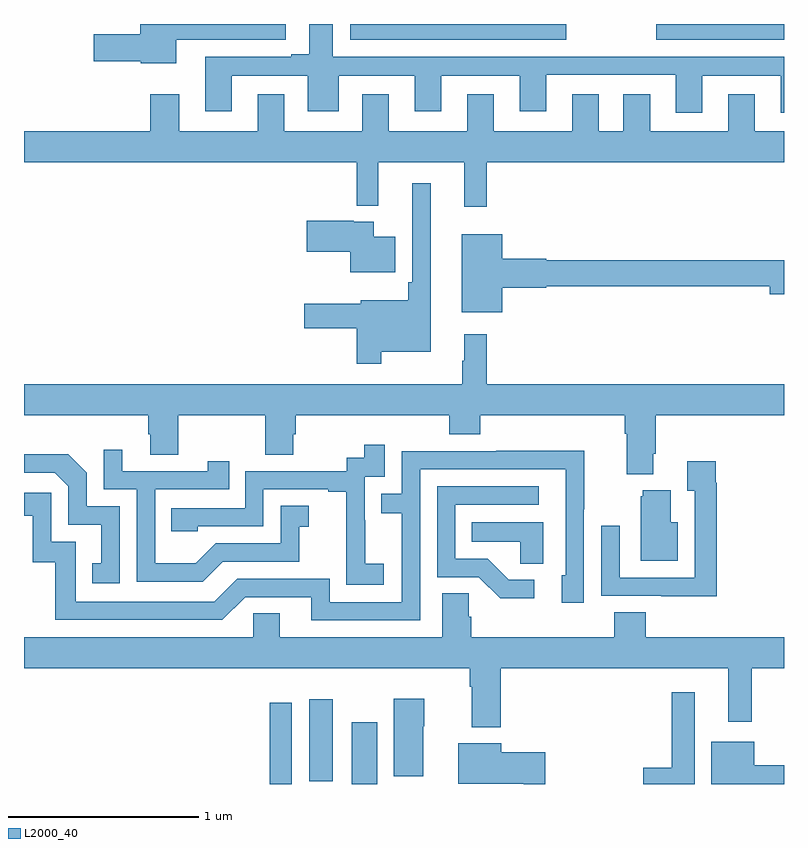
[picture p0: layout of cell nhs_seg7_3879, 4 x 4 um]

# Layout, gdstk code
import gdstk
lib = gdstk.Library(unit=1e-6, precision=1e-09)
def R(c, l, rs):  # rectangles x0, y0, x1, y1
    for r in rs: c.add(gdstk.rectangle(r[:2], r[2:], *l))
def P(c, l, *ps):  # polygons
    for p in ps: c.add(gdstk.Polygon(p, *l))
L2000_40 = (2000, 40)

nhs_seg7_3879 = lib.new_cell('nhs_seg7_3879')
R(nhs_seg7_3879, L2000_40, [(358.294,1008,358.41,1008.427), (358.724,1008,358.858,1008.325), (358.502,1008.015,358.624,1008.445), (360.327,1011.918,361,1012)])
P(nhs_seg7_3879, L2000_40, [(359.854,1012),(358.718,1012),(358.718,1011.918),(359.476,1011.918),(359.476,1011.917),(359.854,1011.917)],
  [(357.802,1011.918),(358.378,1011.918),(358.378,1012),(357.611,1012),(357.611,1011.947),(357.366,1011.947),(357.366,1011.805),(357.615,1011.805),(357.615,1011.794),(357.802,1011.794)],
  [(360.571,1011.727),(360.983,1011.727),(360.983,1011.534),(361,1011.534),(361,1011.828),(358.624,1011.828),(358.624,1012),(358.502,1012),(358.502,1011.841),(358.406,1011.841),(358.406,1011.828),(357.953,1011.828),(357.953,1011.54),(358.093,1011.54),(358.093,1011.727),(358.493,1011.727),(358.493,1011.54),(358.657,1011.54),(358.657,1011.727),(359.057,1011.727),(359.057,1011.54),(359.197,1011.54),(359.197,1011.727),(359.609,1011.727),(359.609,1011.54),(359.749,1011.54),(359.749,1011.732),(360.431,1011.732),(360.431,1011.534),(360.571,1011.534)],
  [(359.435,1011.272),(361,1011.272),(361,1011.436),(360.847,1011.436),(360.847,1011.631),(360.707,1011.631),(360.707,1011.436),(360.295,1011.436),(360.295,1011.631),(360.155,1011.631),(360.155,1011.436),(360.025,1011.436),(360.025,1011.631),(359.885,1011.631),(359.885,1011.436),(359.473,1011.436),(359.473,1011.631),(359.333,1011.631),(359.333,1011.436),(358.921,1011.436),(358.921,1011.631),(358.781,1011.631),(358.781,1011.436),(358.369,1011.436),(358.369,1011.631),(358.229,1011.631),(358.229,1011.436),(357.817,1011.436),(357.817,1011.631),(357.665,1011.631),(357.665,1011.436),(357,1011.436),(357,1011.272),(358.751,1011.272),(358.751,1011.044),(358.865,1011.044),(358.865,1011.272),(359.318,1011.272),(359.318,1011.039),(359.435,1011.039)],
  [(358.879,1010.276),(359.14,1010.276),(359.14,1011.163),(359.043,1011.163),(359.043,1010.641),(359.023,1010.641),(359.023,1010.545),(358.773,1010.545),(358.773,1010.527),(358.476,1010.527),(358.476,1010.398),(358.75,1010.398),(358.75,1010.211),(358.879,1010.211)],
  [(358.954,1010.881),(358.84,1010.881),(358.84,1010.959),(358.736,1010.959),(358.736,1010.964),(358.488,1010.964),(358.488,1010.801),(358.718,1010.801),(358.718,1010.693),(358.954,1010.693)],
  [(359.518,1010.612),(359.748,1010.612),(359.748,1010.62),(360.926,1010.62),(360.926,1010.578),(361,1010.578),(361,1010.756),(359.748,1010.756),(359.748,1010.764),(359.518,1010.764),(359.518,1010.893),(359.303,1010.893),(359.303,1010.483),(359.518,1010.483)],
  [(360.313,1009.738),(360.326,1009.738),(360.326,1009.94),(361,1009.94),(361,1010.104),(359.435,1010.104),(359.435,1010.368),(359.318,1010.368),(359.318,1010.228),(359.307,1010.228),(359.307,1010.104),(357,1010.104),(357,1009.94),(357.653,1009.94),(357.653,1009.842),(357.665,1009.842),(357.665,1009.732),(357.813,1009.732),(357.813,1009.94),(358.27,1009.94),(358.27,1009.732),(358.417,1009.732),(358.417,1009.842),(358.43,1009.842),(358.43,1009.94),(359.237,1009.94),(359.237,1009.841),(359.402,1009.841),(359.402,1009.94),(360.161,1009.94),(360.161,1009.844),(360.173,1009.844),(360.173,1009.631),(360.313,1009.631)],
  [(358.894,1009.159),(358.796,1009.159),(358.796,1009.388),(358.794,1009.388),(358.794,1009.617),(358.899,1009.617),(358.899,1009.786),(358.791,1009.786),(358.791,1009.716),(358.698,1009.716),(358.698,1009.647),(358.164,1009.647),(358.164,1009.452),(357.775,1009.452),(357.775,1009.329),(357.915,1009.329),(357.915,1009.356),(358.26,1009.356),(358.26,1009.551),(358.601,1009.551),(358.601,1009.539),(358.697,1009.539),(358.697,1009.255),(358.696,1009.255),(358.696,1009.049),(358.894,1009.049)],
  [(358.045,1009.17),(358.449,1009.17),(358.449,1009.355),(358.498,1009.355),(358.498,1009.465),(358.35,1009.465),(358.35,1009.266),(358.008,1009.266),(357.904,1009.162),(357.69,1009.162),(357.69,1009.551),(358.079,1009.551),(358.079,1009.699),(357.968,1009.699),(357.968,1009.647),(357.517,1009.647),(357.517,1009.759),(357.42,1009.759),(357.42,1009.551),(357.594,1009.551),(357.594,1009.065),(357.94,1009.065)],
  [(359.085,1009.656),(359.85,1009.656),(359.85,1009.098),(359.831,1009.098),(359.831,1008.954),(359.946,1008.954),(359.946,1009.447),(359.949,1009.447),(359.949,1009.754),(359.485,1009.754),(359.485,1009.752),(358.989,1009.752),(358.989,1009.527),(358.879,1009.527),(358.879,1009.426),(358.989,1009.426),(358.989,1008.957),(358.608,1008.957),(358.608,1009.08),(358.122,1009.08),(358.002,1008.96),(357.273,1008.96),(357.273,1009.275),(357.144,1009.275),(357.144,1009.534),(357,1009.534),(357,1009.413),(357.047,1009.413),(357.047,1009.167),(357.165,1009.167),(357.165,1008.864),(358.044,1008.864),(358.164,1008.984),(358.511,1008.984),(358.511,1008.861),(359.085,1008.861)],
  [(357.504,1009.461),(357.33,1009.461),(357.33,1009.638),(357.232,1009.736),(357,1009.736),(357,1009.638),(357.162,1009.638),(357.234,1009.566),(357.234,1009.365),(357.407,1009.365),(357.407,1009.161),(357.358,1009.161),(357.358,1009.056),(357.504,1009.056)],
  [(360.647,1009.586),(360.64,1009.586),(360.64,1009.699),(360.491,1009.699),(360.491,1009.543),(360.531,1009.543),(360.531,1009.086),(360.135,1009.086),(360.135,1009.36),(360.039,1009.36),(360.039,1008.99),(360.355,1008.99),(360.355,1008.989),(360.647,1008.989)],
  [(359.686,1009.074),(359.551,1009.074),(359.44,1009.185),(359.271,1009.185),(359.271,1009.47),(359.71,1009.47),(359.71,1009.566),(359.175,1009.566),(359.175,1009.089),(359.394,1009.089),(359.507,1008.977),(359.686,1008.977)],
  [(360.442,1009.378),(360.403,1009.378),(360.403,1009.546),(360.257,1009.546),(360.257,1009.515),(360.245,1009.515),(360.245,1009.175),(360.442,1009.175)],
  [(359.734,1009.378),(359.356,1009.378),(359.356,1009.274),(359.613,1009.274),(359.613,1009.159),(359.734,1009.159)],
  [(359.51,1008.608),(360.707,1008.608),(360.707,1008.327),(360.829,1008.327),(360.829,1008.608),(361,1008.608),(361,1008.772),(360.272,1008.772),(360.272,1008.905),(360.107,1008.905),(360.107,1008.772),(359.354,1008.772),(359.354,1008.881),(359.34,1008.881),(359.34,1009.004),(359.201,1009.004),(359.201,1008.772),(358.345,1008.772),(358.345,1008.899),(358.206,1008.899),(358.206,1008.772),(357,1008.772),(357,1008.608),(359.345,1008.608),(359.345,1008.512),(359.357,1008.512),(359.357,1008.299),(359.51,1008.299)],
  [(360.529,1008.484),(360.408,1008.484),(360.408,1008.085),(360.26,1008.085),(360.26,1008),(360.529,1008)],
  [(359.101,1008.303),(359.107,1008.303),(359.107,1008.448),(358.946,1008.448),(358.946,1008.042),(359.101,1008.042)],
  [(361,1008.098),(360.844,1008.098),(360.844,1008.223),(360.617,1008.223),(360.617,1008),(361,1008)],
  [(359.743,1008.168),(359.512,1008.168),(359.512,1008.214),(359.285,1008.214),(359.285,1008.002),(359.63,1008.002),(359.63,1008),(359.743,1008)])

lib.write_gds('nhs_seg7_3879.gds')
